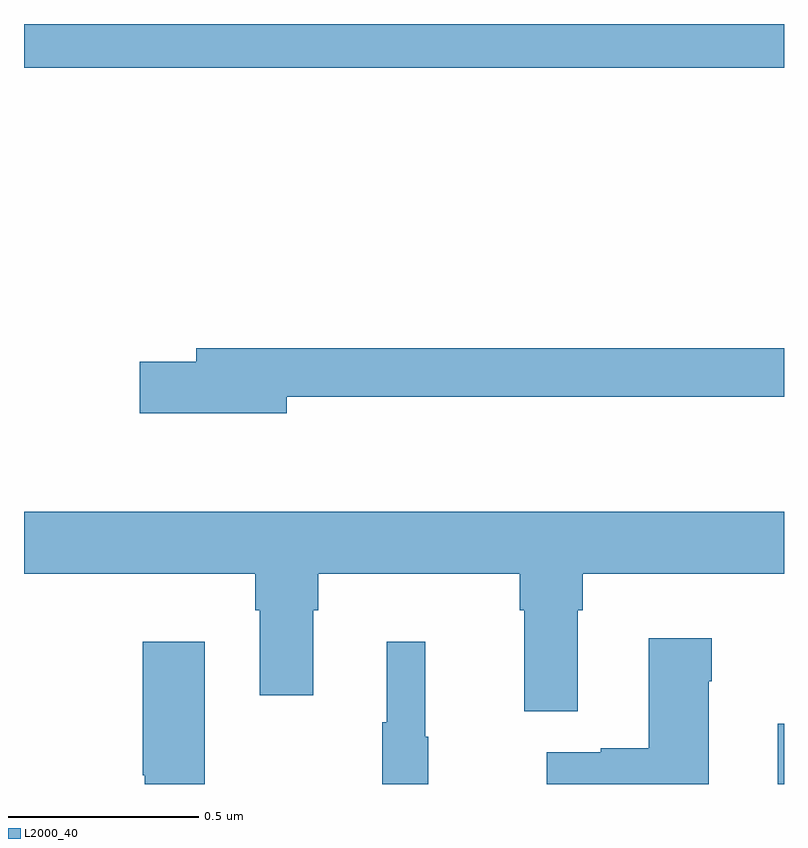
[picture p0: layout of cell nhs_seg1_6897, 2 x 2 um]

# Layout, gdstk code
import gdstk
lib = gdstk.Library(unit=1e-6, precision=1e-09)
def R(c, l, rs):  # rectangles x0, y0, x1, y1
    for r in rs: c.add(gdstk.rectangle(r[:2], r[2:], *l))
def P(c, l, *ps):  # polygons
    for p in ps: c.add(gdstk.Polygon(p, *l))
L2000_40 = (2000, 40)

nhs_seg1_6897 = lib.new_cell('nhs_seg1_6897')
R(nhs_seg1_6897, L2000_40, [(198.983,531.199,199,531.358), (197,533.084,199,533.199)])
P(nhs_seg1_6897, L2000_40, [(197.692,532.218),(199,532.218),(199,532.346),(197.453,532.346),(197.453,532.31),(197.304,532.31),(197.304,532.175),(197.692,532.175)],
  [(198.457,531.656),(198.47,531.656),(198.47,531.752),(199,531.752),(199,531.916),(197,531.916),(197,531.752),(197.609,531.752),(197.609,531.656),(197.621,531.656),(197.621,531.432),(197.761,531.432),(197.761,531.656),(197.774,531.656),(197.774,531.752),(198.305,531.752),(198.305,531.656),(198.317,531.656),(198.317,531.39),(198.457,531.39)],
  [(198.802,531.47),(198.81,531.47),(198.81,531.583),(198.644,531.583),(198.644,531.293),(198.518,531.293),(198.518,531.283),(198.375,531.283),(198.375,531.199),(198.802,531.199)],
  [(197.476,531.574),(197.312,531.574),(197.312,531.222),(197.318,531.222),(197.318,531.199),(197.476,531.199)],
  [(198.064,531.324),(198.056,531.324),(198.056,531.574),(197.954,531.574),(197.954,531.361),(197.943,531.361),(197.943,531.199),(198.064,531.199)])

lib.write_gds('nhs_seg1_6897.gds')
